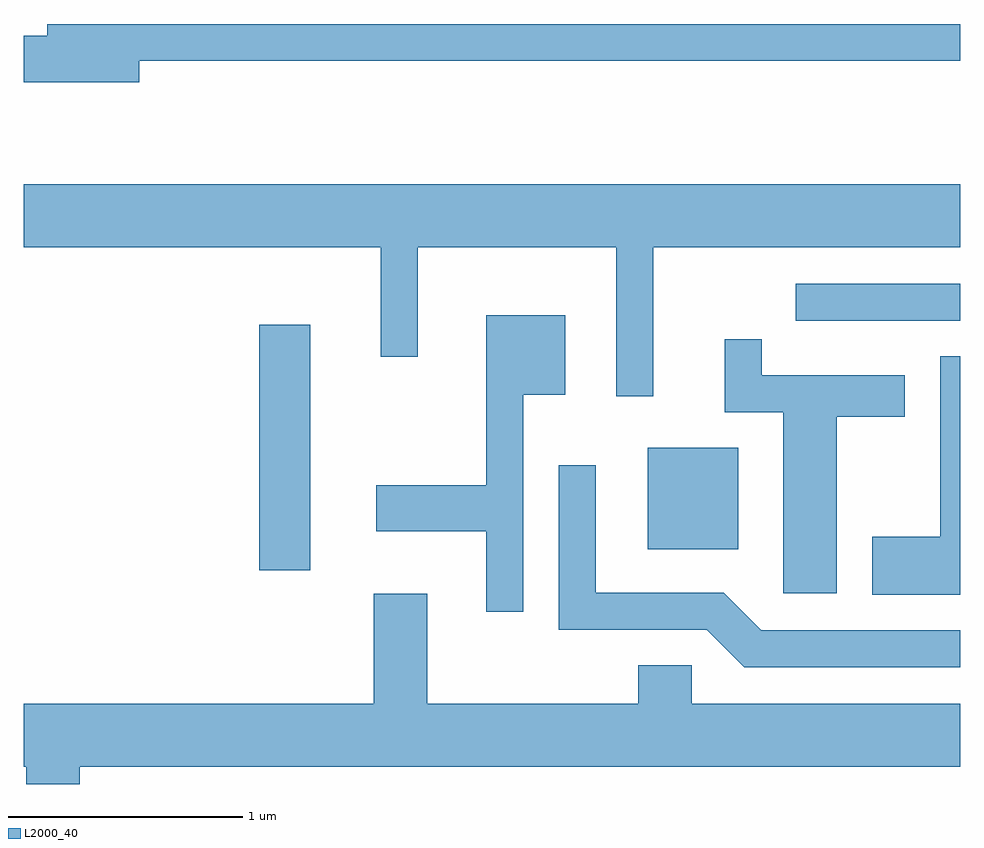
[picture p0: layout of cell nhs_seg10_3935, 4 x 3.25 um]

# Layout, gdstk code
import gdstk
lib = gdstk.Library(unit=1e-6, precision=1e-09)
def R(c, l, rs):  # rectangles x0, y0, x1, y1
    for r in rs: c.add(gdstk.rectangle(r[:2], r[2:], *l))
def P(c, l, *ps):  # polygons
    for p in ps: c.add(gdstk.Polygon(p, *l))
L2000_40 = (2000, 40)

nhs_seg10_3935 = lib.new_cell('nhs_seg10_3935')
R(nhs_seg10_3935, L2000_40, [(302.616,2101.436,302.834,2102.484), (304.276,2101.526,304.664,2101.959), (304.908,2102.501,305.611,2102.659)])
P(nhs_seg10_3935, L2000_40, [(302.104,2103.611),(305.611,2103.611),(305.611,2103.769),(301.711,2103.769),(301.711,2103.719),(301.611,2103.719),(301.611,2103.521),(302.104,2103.521)],
  [(304.299,2102.816),(305.611,2102.816),(305.611,2103.084),(301.611,2103.084),(301.611,2102.816),(303.136,2102.816),(303.136,2102.348),(303.294,2102.348),(303.294,2102.816),(304.141,2102.816),(304.141,2102.178),(304.299,2102.178)],
  [(303.744,2102.186),(303.924,2102.186),(303.924,2102.524),(303.586,2102.524),(303.586,2101.799),(303.116,2101.799),(303.116,2101.601),(303.586,2101.601),(303.586,2101.258),(303.744,2101.258)],
  [(305.084,2102.091),(305.374,2102.091),(305.374,2102.269),(304.764,2102.269),(304.764,2102.423),(304.606,2102.423),(304.606,2102.111),(304.856,2102.111),(304.856,2101.336),(305.084,2101.336)],
  [(305.611,2102.349),(305.526,2102.349),(305.526,2101.579),(305.236,2101.579),(305.236,2101.331),(305.611,2101.331)],
  [(305.611,2101.179),(304.762,2101.179),(304.602,2101.339),(304.054,2101.339),(304.054,2101.883),(303.896,2101.883),(303.896,2101.181),(304.529,2101.181),(304.689,2101.021),(305.611,2101.021)],
  [(301.849,2100.596),(305.611,2100.596),(305.611,2100.864),(304.464,2100.864),(304.464,2101.029),(304.236,2101.029),(304.236,2100.864),(303.334,2100.864),(303.334,2101.334),(303.106,2101.334),(303.106,2100.864),(301.611,2100.864),(301.611,2100.596),(301.621,2100.596),(301.621,2100.522),(301.849,2100.522)])

lib.write_gds('nhs_seg10_3935.gds')
